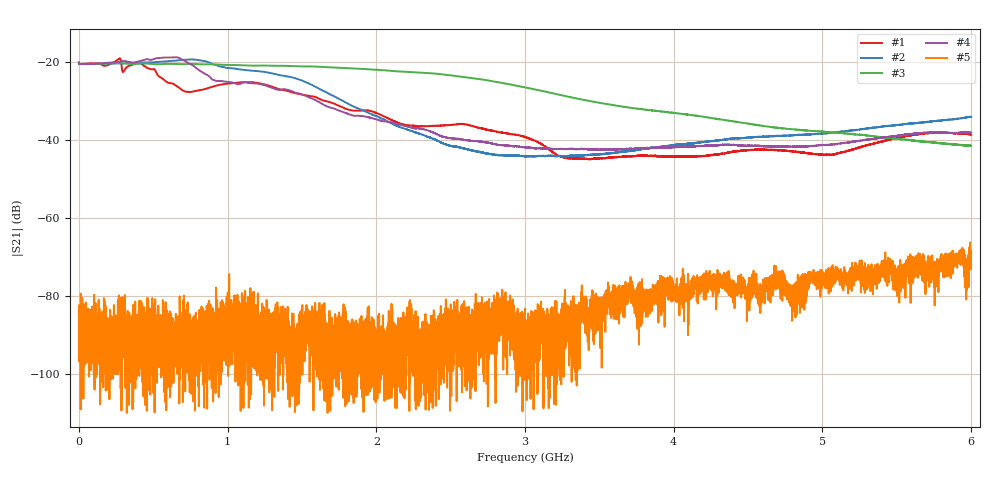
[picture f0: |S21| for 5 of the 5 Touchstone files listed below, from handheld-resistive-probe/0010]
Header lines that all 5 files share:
! Ref Plane: 0.000 mm
# MHZ S MA R  50
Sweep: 300 kHz to 6 GHz
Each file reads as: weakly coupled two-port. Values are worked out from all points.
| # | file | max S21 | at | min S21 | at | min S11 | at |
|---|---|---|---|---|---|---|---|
| 1 | flexground.s2p | -18.97 dB | 273.9 MHz | -44.9 dB | 3.436 GHz | -26.4 dB | 2.1 MHz |
| 2 | leafground.s2p | -19.26 dB | 754.5 MHz | -44.2 dB | 3.009 GHz | -26.4 dB | 300 kHz |
| 3 | tipground.s2p | -20.10 dB | 300 kHz | -41.4 dB | 5.999 GHz | -26.5 dB | 300 kHz |
| 4 | zground.s2p | -18.70 dB | 645.9 MHz | -42.5 dB | 3.497 GHz | -26.5 dB | 300 kHz |
| 5 | zin.s2p | -66.20 dB | 5.994 GHz | -110.0 dB | 322.5 MHz | -5.2 dB | 2.655 GHz |
